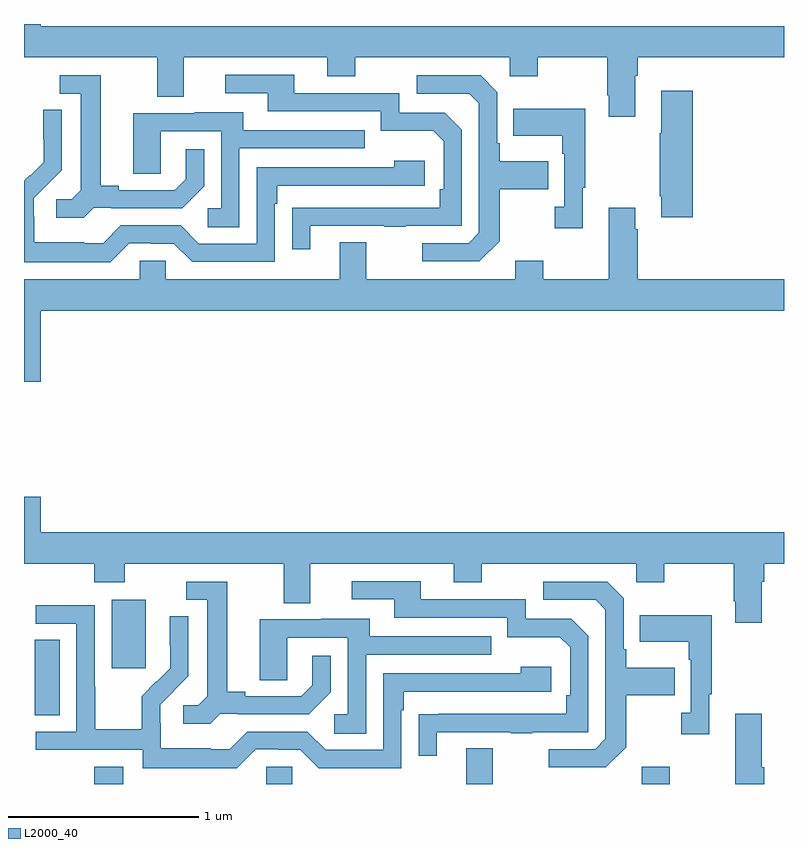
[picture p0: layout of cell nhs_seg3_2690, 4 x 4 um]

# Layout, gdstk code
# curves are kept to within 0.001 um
import gdstk
lib = gdstk.Library(unit=1e-6, precision=1e-09)
def R(c, l, rs):  # rectangles x0, y0, x1, y1
    for r in rs: c.add(gdstk.rectangle(r[:2], r[2:], *l))
def P(c, l, *ps):  # polygons
    for p in ps: c.add(gdstk.Polygon(p, *l))
L2000_40 = (2000, 40)

nhs_seg3_2690 = lib.new_cell('nhs_seg3_2690')
R(nhs_seg3_2690, L2000_40, [(249.371,722.4,249.523,722.491), (250.275,722.4,250.413,722.49), (251.327,722.4,251.467,722.587), (252.251,722.4,252.399,722.491), (249.056,722.761,249.187,723.158), (249.461,723.009,249.64,723.37)])
P(nhs_seg3_2690, L2000_40, [(252.217,726.128),(252.23,726.128),(252.23,726.224),(253,726.224),(253,726.388),(249.088,726.388),(249.088,726.4),(249,726.4),(249,726.224),(249.701,726.224),(249.701,726.016),(249.841,726.016),(249.841,726.224),(250.595,726.224),(250.595,726.125),(250.743,726.125),(250.743,726.224),(251.556,726.224),(251.556,726.125),(251.703,726.125),(251.703,726.224),(252.07,726.224),(252.07,726.025),(252.077,726.025),(252.077,725.913),(252.217,725.913)],
  [(250.507,725.337),(250.897,725.337),(250.897,725.332),(251.009,725.332),(251.009,725.337),(251.304,725.337),(251.304,725.844),(251.214,725.934),(250.974,725.934),(250.974,726.036),(250.423,726.036),(250.423,726.132),(250.059,726.132),(250.059,726.036),(250.283,726.036),(250.283,725.94),(250.878,725.94),(250.878,725.837),(251.155,725.837),(251.208,725.784),(251.208,725.53),(251.188,725.53),(251.188,725.433),(250.411,725.432),(250.411,725.214),(250.507,725.214)],
  [(249.366,725.433),(249.46,725.433),(249.46,725.43),(249.832,725.43),(249.948,725.546),(249.948,725.74),(249.851,725.74),(249.851,725.583),(249.794,725.526),(249.499,725.526),(249.499,725.549),(249.403,725.549),(249.403,726.129),(249.189,726.129),(249.189,726.033),(249.299,726.033),(249.299,725.525),(249.252,725.478),(249.171,725.478),(249.171,725.381),(249.314,725.381)],
  [(251.503,725.257),(251.503,725.53),(251.759,725.53),(251.759,725.677),(251.503,725.677),(251.503,725.773),(251.49,725.773),(251.49,726.042),(251.403,726.129),(251.067,726.129),(251.067,726.033),(251.343,726.033),(251.394,725.982),(251.394,725.301),(251.34,725.247),(251.097,725.247),(251.097,725.151),(251.397,725.151)],
  [(252.521,726.049),(252.353,726.049),(252.353,725.825),(252.346,725.825),(252.346,725.494),(252.353,725.494),(252.353,725.382),(252.521,725.382)],
  [(251.941,725.537),(251.953,725.537),(251.953,725.953),(251.575,725.953),(251.575,725.813),(251.832,725.813),(251.832,725.717),(251.844,725.717),(251.844,725.438),(251.793,725.438),(251.793,725.325),(251.941,725.325)],
  [(249.555,725.247),(249.671,725.247),(249.671,725.244),(249.789,725.244),(249.885,725.148),(250.32,725.148),(250.32,725.453),(250.333,725.453),(250.333,725.55),(251.11,725.55),(251.11,725.68),(250.949,725.68),(250.949,725.646),(250.224,725.646),(250.224,725.244),(249.921,725.244),(249.825,725.34),(249.51,725.34),(249.417,725.247),(249.317,725.247),(249.317,725.251),(249.054,725.251),(249.054,725.385),(249.052,725.385),(249.052,725.482),(249.198,725.63),(249.198,725.948),(249.102,725.948),(249.102,725.794),(249.104,725.794),(249.104,725.672),(249.033,725.601),(249.03,725.604),(249,725.574),(249,725.147),(249.455,725.147)],
  [(250.134,725.745),(250.793,725.745),(250.793,725.841),(250.153,725.841),(250.153,725.935),(249.899,725.935),(249.899,725.931),(249.575,725.931),(249.575,725.611),(249.72,725.611),(249.72,725.835),(250.038,725.835),(250.038,725.43),(249.966,725.43),(249.966,725.329),(250.134,725.329)],
  [(249.088,724.892),(253,724.892),(253,725.056),(252.23,725.056),(252.23,725.321),(252.217,725.321),(252.217,725.434),(252.077,725.434),(252.077,725.056),(251.733,725.056),(251.733,725.155),(251.585,725.155),(251.585,725.056),(250.801,725.056),(250.801,725.251),(250.661,725.251),(250.661,725.056),(249.747,725.056),(249.747,725.154),(249.609,725.154),(249.609,725.056),(249,725.056),(249,724.518),(249.088,724.518)],
  [(252.883,723.464),(252.896,723.464),(252.896,723.56),(253,723.56),(253,723.724),(249.088,723.724),(249.088,723.913),(249,723.913),(249,723.56),(249.371,723.56),(249.371,723.461),(249.531,723.461),(249.531,723.56),(250.367,723.56),(250.367,723.352),(250.507,723.352),(250.507,723.56),(251.261,723.56),(251.261,723.461),(251.409,723.461),(251.409,723.56),(252.222,723.56),(252.222,723.461),(252.369,723.461),(252.369,723.56),(252.736,723.56),(252.736,723.361),(252.743,723.361),(252.743,723.249),(252.883,723.249)],
  [(251.173,722.673),(251.563,722.673),(251.563,722.668),(251.675,722.668),(251.675,722.673),(251.97,722.673),(251.97,723.18),(251.88,723.27),(251.64,723.27),(251.64,723.372),(251.089,723.372),(251.089,723.468),(250.725,723.468),(250.725,723.372),(250.949,723.372),(250.949,723.276),(251.544,723.276),(251.544,723.173),(251.821,723.173),(251.874,723.12),(251.874,722.866),(251.854,722.866),(251.854,722.769),(251.077,722.768),(251.077,722.55),(251.173,722.55)],
  [(252.169,722.593),(252.169,722.866),(252.425,722.866),(252.425,723.013),(252.169,723.013),(252.169,723.109),(252.156,723.109),(252.156,723.378),(252.069,723.465),(251.733,723.465),(251.733,723.369),(252.009,723.369),(252.06,723.318),(252.06,722.637),(252.006,722.583),(251.763,722.583),(251.763,722.487),(252.063,722.487)],
  [(250.032,722.769),(250.126,722.769),(250.126,722.766),(250.498,722.766),(250.614,722.882),(250.614,723.076),(250.517,723.076),(250.517,722.919),(250.46,722.862),(250.165,722.862),(250.165,722.885),(250.069,722.885),(250.069,723.465),(249.855,723.465),(249.855,723.369),(249.965,723.369),(249.965,722.861),(249.918,722.814),(249.837,722.814),(249.837,722.717),(249.98,722.717)],
  [(250.221,722.583),(250.337,722.583),(250.337,722.58),(250.455,722.58),(250.551,722.484),(250.986,722.484),(250.986,722.789),(250.999,722.789),(250.999,722.886),(251.776,722.886),(251.776,723.016),(251.615,723.016),(251.615,722.982),(250.89,722.982),(250.89,722.58),(250.587,722.58),(250.491,722.676),(250.176,722.676),(250.083,722.583),(249.983,722.583),(249.983,722.587),(249.72,722.587),(249.72,722.721),(249.718,722.721),(249.718,722.818),(249.864,722.966),(249.864,723.284),(249.768,723.284),(249.768,723.13),(249.77,723.13),(249.77,723.008),(249.699,722.937),(249.696,722.94),(249.619,722.863),(249.619,722.689),(249.375,722.689),(249.375,722.912),(249.372,722.912),(249.372,723.342),(249.063,723.342),(249.063,723.243),(249.276,723.243),(249.276,722.676),(249.063,722.676),(249.063,722.58),(249.624,722.58),(249.624,722.483),(250.121,722.483)],
  [(252.607,722.873),(252.619,722.873),(252.619,723.289),(252.241,723.289),(252.241,723.149),(252.498,723.149),(252.498,723.053),(252.51,723.053),(252.51,722.774),(252.459,722.774),(252.459,722.661),(252.607,722.661)],
  [(250.8,723.081),(251.459,723.081),(251.459,723.177),(250.819,723.177),(250.819,723.271),(250.565,723.271),(250.565,723.267),(250.241,723.267),(250.241,722.947),(250.386,722.947),(250.386,723.171),(250.704,723.171),(250.704,722.766),(250.632,722.766),(250.632,722.665),(250.8,722.665)],
  [(252.896,722.488),(252.883,722.488),(252.883,722.77),(252.743,722.77),(252.743,722.4),(252.896,722.4)])

lib.write_gds('nhs_seg3_2690.gds')
